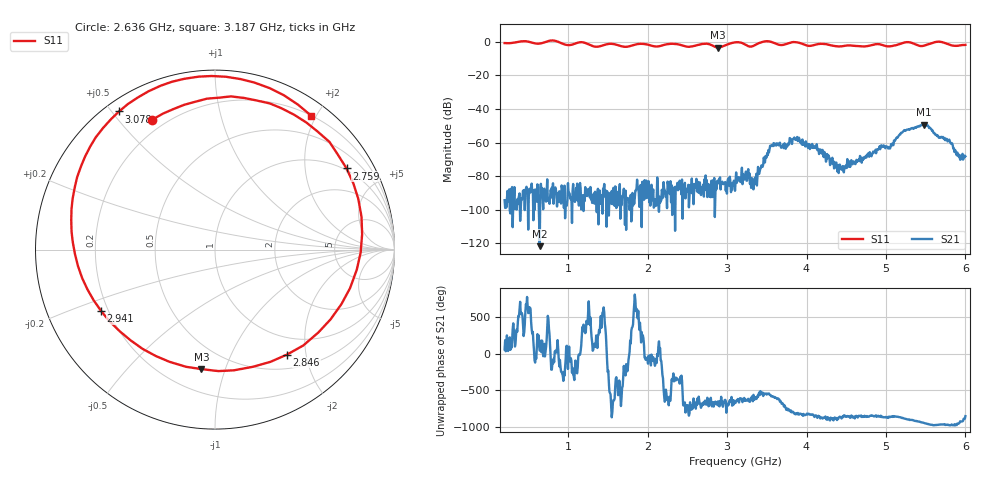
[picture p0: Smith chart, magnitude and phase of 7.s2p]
! NanoVNA-App by OneOfEleven et al v1.1.209 (+OD15)
! Date: 2024-07-30 15:11:41
! Start: 200MHz Stop: 6GHz Points: 801
! S-Parameter data: F S11 S21 S12 S22
# Hz S RI R 50
!  Frequency  S11_Real  S11_Imag  S21_Real  S21_Imag  S12_Real  S12_Imag  S22_Real  S22_Imag
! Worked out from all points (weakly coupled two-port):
!   801 points, 200 MHz to 6 GHz, reference 50 ohm
!   highest |S21| = -49.32 dB at 5.478 GHz (marker M1); lowest = -121.7 dB at 642.2 MHz (marker M2)
!   lowest |S11| = -3.5 dB at 2.882 GHz (marker M3), VSWR 5.06, Z = 17.2 - j41.6 ohm
!   |S11| at or under -10 dB: nowhere
!   S12 and S22 are empty: the file has one direction only
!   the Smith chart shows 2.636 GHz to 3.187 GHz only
!   S11 on the Smith chart (normalised r, x): 2.636 GHz: 0.15, +0.62; 2.759 GHz: 0.94, +3.28; 2.846 GHz: 0.71, -1.67; 2.941 GHz: 0.17, -0.25; 3.078 GHz: 0.04, +0.52; 3.187 GHz: 0.20, +1.93
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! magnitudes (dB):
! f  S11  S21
! 200 MHz  -0.8  -94.3
! 642.2 MHz  -1.1  -121.7
! 1.171 GHz  -0.3  -94.5
! 2.136 GHz  -2.8  -97.0
! 2.636 GHz  -1.9  -83.4
! 2.759 GHz  -1.3  -91.0
! 2.846 GHz  -3.0  -104.3
! 2.882 GHz  -3.5  -84.4
! 2.941 GHz  -2.8  -83.3
! 3.078 GHz  -0.6  -85.0
! 3.1 GHz  -0.4  -88.7
! 3.187 GHz  -0.7  -75.0
! 3.383 GHz  -1.2  -79.6
! 3.586 GHz  -0.6  -60.3
! 3.716 GHz  -1.8  -63.4
! 3.854 GHz  -0.2  -58.1
! 4.072 GHz  -2.3  -60.8
! 4.463 GHz  -2.6  -76.3
! 5.036 GHz  -2.8  -63.1
! 5.217 GHz  -0.6  -53.3
! 5.478 GHz  -2.4  -49.3
! 6 GHz  -1.9  -68.2
